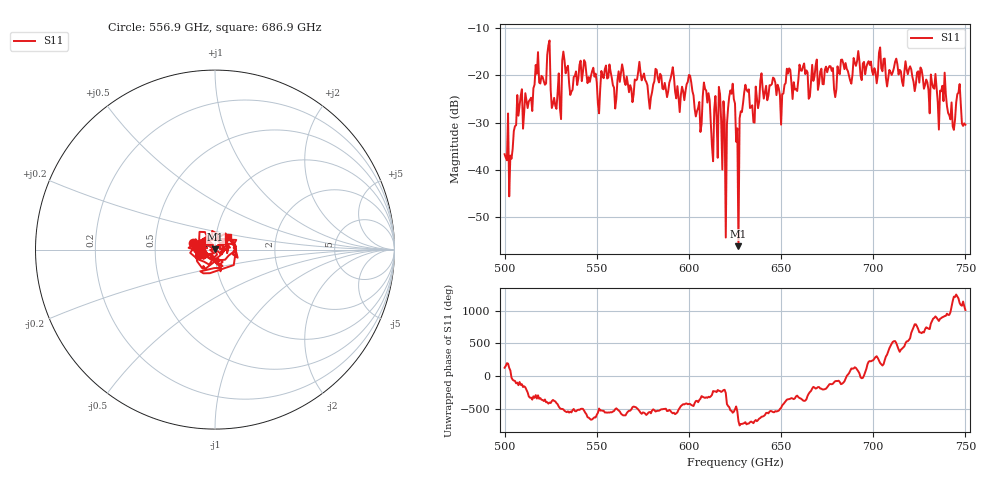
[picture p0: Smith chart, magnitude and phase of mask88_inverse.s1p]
!Created with skrf (http://scikit-rf.org).
# GHz S MA R 50.0
!freq magS11 angS11
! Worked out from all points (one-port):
!   401 points, 500 GHz to 750 GHz, reference 50 ohm
!   lowest |S11| = -56.2 dB at 626.9 GHz (marker M1), VSWR 1.00, Z = 50.1 + j0.0831 ohm
!   |S11| at or under -10 dB: start of sweep to end of sweep
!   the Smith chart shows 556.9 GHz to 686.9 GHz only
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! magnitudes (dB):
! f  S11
! 500 GHz  -36.7
! 503.8 GHz  -37.7
! 508.1 GHz  -26.4
! 513.8 GHz  -25.1
! 516.9 GHz  -17.8
! 523.8 GHz  -13.6
! 526.9 GHz  -24.8
! 531.2 GHz  -16.9
! 562.5 GHz  -21.4
! 593.8 GHz  -22.3
! 600 GHz  -19.9
! 605.6 GHz  -25.6
! 609.4 GHz  -23.2
! 612.5 GHz  -35.0
! 617.5 GHz  -29.7
! 619.4 GHz  -29.3
! 622.5 GHz  -23.2
! 625 GHz  -26.0
! 626.9 GHz  -56.2
! 631.2 GHz  -23.0
! 634.4 GHz  -26.3
! 656.2 GHz  -25.0
! 687.5 GHz  -21.1
! 718.8 GHz  -19.7
! 738.1 GHz  -25.5
! 743.1 GHz  -30.8
! 746.2 GHz  -23.6
! 750 GHz  -30.4
